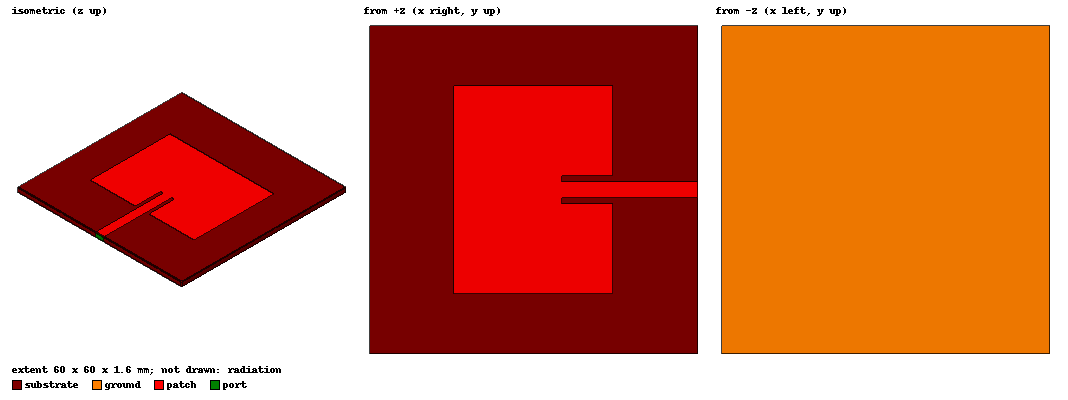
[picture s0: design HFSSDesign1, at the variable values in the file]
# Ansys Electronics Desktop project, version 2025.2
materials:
  vacuum: permittivity=1
  Rogers RT/duroid 5880 (tm): permittivity=2.2 dielectric_loss_tangent=0.0009
  FR4_epoxy: permittivity=4.4 dielectric_loss_tangent=0.02
  air: permittivity=1.0006 permeability=1.0000004

design HFSSDesign1 (HFSS, HFSS Modal Network, model units mm)
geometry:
  ground = rectangle(corner=(-30mm, -30mm, 0mm), x_size=60mm, y_size=60mm)
  substrate [FR4_epoxy] = box(corner=(-30mm, -30mm, 0mm), size=(60mm, 60mm, 1.6mm))
  patch = rectangle(corner=((-29.4/2) mm, (-38/2) mm, 1.6mm), x_size=29.2mm, y_size=38mm)
  feed = rectangle(corner=(0mm, -1.5mm, 1.6mm), x_size=30mm, y_size=3mm)
  cut = rectangle(corner=(14.7mm, -2.5mm, 1.6mm), x_size=-9.5mm, y_size=5mm)
  patch.subtract(cut)
  patch.unite(feed)
  port = rectangle(corner=(30mm, -1.5mm, 1.6mm), y_size=3mm, z_size=-1.6mm)
  radiation [air] = box(corner=(-40mm, -40mm, -20mm), size=(80mm, 80mm, 40mm))
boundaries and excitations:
  PerfE1: Perfect E Objects=ground
  PerfE2: Perfect E Objects=patch
  Rad1: Radiation Objects=radiation
  1: Lumped Port Objects=port LumpedPortType=Modal Modes{Mode1{IntLine{(30, 0, 0) -> (30, 0, 1.6)} CharImp=Zpi}} Impedance=50ohm
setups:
  Setup2: HfssDriven Frequency=2.4GHz MaxDeltaS=0.02 MaximumPasses=20 MinimumPasses=1 MinimumConvergedPasses=1 PercentRefinement=30 BasisOrder=1 PortAccuracy=2 DrivenSolverType="Direct Solver"
    sweep Sweep: 1GHz to 3GHz step 0.2GHz; Type=Discrete SaveFields
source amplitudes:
  1:1: 1V 0deg
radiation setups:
  Infinite Sphere1: Infinite Sphere Theta=0deg..180deg step 10deg Phi=0deg..360deg step 10deg
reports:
  S Parameter Plot1: dB(S(1,1)) vs Freq on Setup2 : Sweep; markers m1 at 2.4GHz
  VSWR Plot1: VSWR(1) vs Freq on Setup2 : Sweep; markers m1 at 2.4GHz
  rE Plot1: rETotal vs Phi, Theta on Setup2 : LastAdaptive, Infinite Sphere1 [Freq=2.4GHz]
  System Gain Plot1: SystemGainTotal vs Phi, Theta on Setup2 : LastAdaptive, Infinite Sphere1 [Freq=2.4GHz]
  Gain Plot1: GainTotal vs Theta on Setup2 : LastAdaptive, Infinite Sphere1 [Phi=all Freq=2.4GHz]
  S Parameter Plot2: dB(S(1,1)) vs Freq on Setup2 : Sweep
